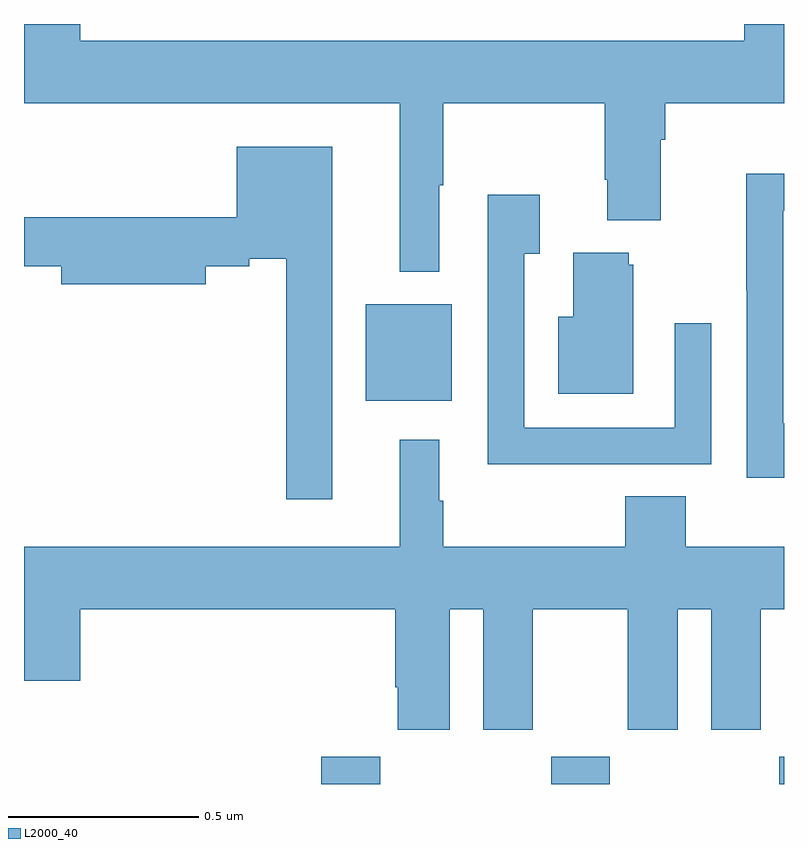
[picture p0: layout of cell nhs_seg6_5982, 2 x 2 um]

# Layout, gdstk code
import gdstk
lib = gdstk.Library(unit=1e-6, precision=1e-09)
def R(c, l, rs):  # rectangles x0, y0, x1, y1
    for r in rs: c.add(gdstk.rectangle(r[:2], r[2:], *l))
def P(c, l, *ps):  # polygons
    for p in ps: c.add(gdstk.Polygon(p, *l))
L2000_40 = (2000, 40)

nhs_seg6_5982 = lib.new_cell('nhs_seg6_5982')
R(nhs_seg6_5982, L2000_40, [(189.782,989.5,189.937,989.572), (190.387,989.5,190.542,989.572), (190.987,989.5,191,989.572), (189.899,990.509,190.126,990.763)])
P(nhs_seg6_5982, L2000_40, [(190.093,991.076),(190.103,991.076),(190.103,991.292),(190.528,991.292),(190.528,991.09),(190.535,991.09),(190.535,990.983),(190.675,990.983),(190.675,991.196),(190.688,991.196),(190.688,991.292),(191,991.292),(191,991.5),(190.895,991.5),(190.895,991.456),(189.148,991.456),(189.148,991.5),(189,991.5),(189,991.292),(189.989,991.292),(189.989,990.848),(190.093,990.848)],
  [(189.811,991.177),(189.56,991.177),(189.56,990.991),(189,990.991),(189,990.862),(189.098,990.862),(189.098,990.815),(189.478,990.815),(189.478,990.862),(189.593,990.862),(189.593,990.882),(189.69,990.882),(189.69,990.249),(189.811,990.249)],
  [(191,990.45),(190.998,990.45),(190.998,991.008),(191,991.008),(191,991.106),(190.9,991.106),(190.9,990.799),(190.902,990.799),(190.902,990.306),(191,990.306)],
  [(190.493,990.342),(190.809,990.342),(190.809,990.712),(190.713,990.712),(190.713,990.438),(190.317,990.438),(190.317,990.895),(190.357,990.895),(190.357,991.051),(190.221,991.051),(190.221,990.341),(190.493,990.341)],
  [(190.603,990.867),(190.592,990.867),(190.592,990.898),(190.445,990.898),(190.445,990.73),(190.406,990.73),(190.406,990.527),(190.603,990.527)],
  [(190.12,989.96),(190.208,989.96),(190.208,989.643),(190.339,989.643),(190.339,989.96),(190.589,989.96),(190.589,989.643),(190.72,989.643),(190.72,989.96),(190.808,989.96),(190.808,989.643),(190.939,989.643),(190.939,989.96),(191,989.96),(191,990.124),(190.742,990.124),(190.742,990.257),(190.582,990.257),(190.582,990.124),(190.103,990.124),(190.103,990.245),(190.093,990.245),(190.093,990.406),(189.989,990.406),(189.989,990.124),(189,990.124),(189,989.772),(189.148,989.772),(189.148,989.96),(189.977,989.96),(189.977,989.755),(189.983,989.755),(189.983,989.643),(190.12,989.643)])

lib.write_gds('nhs_seg6_5982.gds')
